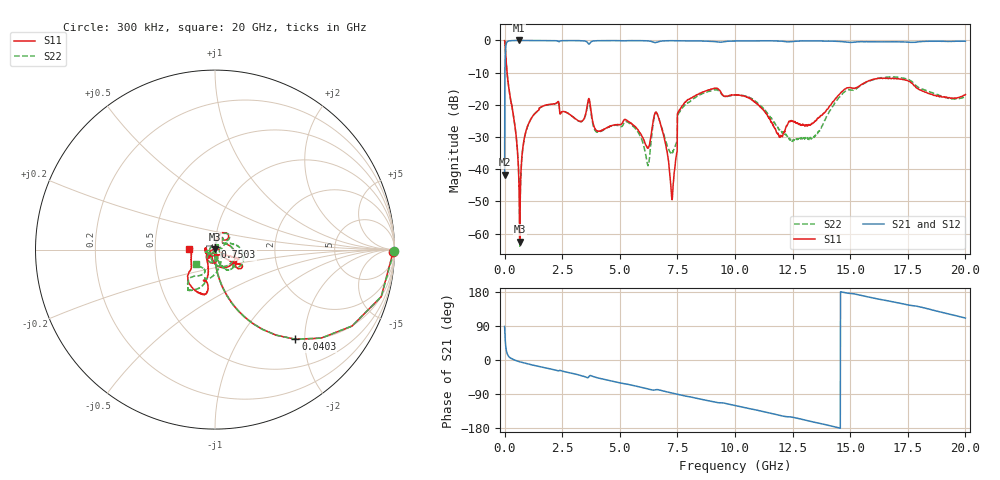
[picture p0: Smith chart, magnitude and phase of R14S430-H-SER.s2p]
!{R14S430}
!Johanson Technology Inc.
!www.johansontechnology.com
!Test Board Conditions:
!Substrate Type  RO4350B
!Substrate Thickness  20 mil
!Substrate Dk  3.66
!TL Type: GCPW
!TL Trace Width  36 mil
!TL Gap  12 mil
!Electrode orientation  Horizontal
!DUT TOPOLOGY	SERIES
!Mounting Pad LxW  26x36 mil
! Created Wed Nov 25 17:33:21 2020
! 2 Port Network Data from SP1.SP block
! freq  magS11  angS11  magS21  angS21  magS12  angS12  magS22  angS22
# khz S ma R 50
! decimated to every 10th point (10 MHz spacing) of the original 1 MHz Johanson file; values unchanged
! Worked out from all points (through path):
!   2001 points, 300 kHz to 20 GHz, reference 50 ohm
!   highest |S21| = 0.00 dB at 610.3 MHz (marker M1); lowest = -41.7 dB at 300 kHz (marker M2)
!   group delay of S21, straight-line fit = 34.7 ps
!   lowest |S11| = -62.5 dB at 660.3 MHz (marker M3), VSWR 1.00, Z = 50 + j0.0729 ohm
!   |S11| at or under -10 dB: 107.3 MHz to end of sweep
!   |S22| runs from -63.9 to 0.0 dB; largest |S21 - S12| = 0.015
!   S11 on the Smith chart (normalised r, x): 300 kHz: open; 40.3 MHz: 0.99, -1.80; 750.3 MHz: 1.00, +0.03; 20 GHz: 0.75, +0.00
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300  0.9927 -0.7  0.008187 88.5  0.008142 89.9  0.9967 -0.6
40300  0.671 -48.1  0.7387 42.0  0.74 41.9  0.6725 -48.0
130300  0.2617 -75.7  0.964 14.2  0.9643 14.2  0.2627 -75.7
610300  0.008377 -93.8  0.9998 -3.9  0.9989 -3.9  0.00871 -90.0
660300  0.0007508 76.1  0.9986 -4.8  1 -4.8  0.0006357 61.4
750300  0.01573 84.6  0.9993 -6.4  0.9987 -6.4  0.01501 81.6
970300  0.04386 80.2  0.9975 -9.8  0.9985 -9.8  0.04334 79.2
1600300  0.09312 73.1  0.9946 -18.5  0.9947 -18.5  0.09274 69.6
3340300  0.05536 41.6  0.9914 -41.3  0.9914 -41.2  0.05504 44.7
3650300  0.1246 -30.7  0.8797 -44.9  0.8807 -44.9  0.1167 -29.9
4040300  0.03921 -117.0  0.9914 -47.2  0.9915 -47.2  0.03769 -143.2
5380300  0.05506 -135.1  0.9916 -64.6  0.9919 -64.6  0.05267 -166.1
6210300  0.0212 -106.0  0.9841 -76.1  0.9847 -76.1  0.01148 -127.4
6670300  0.06587 -131.8  0.9577 -78.4  0.9575 -78.4  0.06527 -131.4
7260300  0.003492 117.5  0.9924 -87.1  0.9918 -87.1  0.01784 -89.5
7650300  0.08951 -38.4  0.9872 -92.5  0.9876 -92.4  0.08344 25.2
1.00003e7  0.1428 -19.8  0.9794 -120.1  0.9796 -120.1  0.1411 -45.9
1.19603e7  0.03241 -74.0  0.9766 -146.4  0.9792 -146.2  0.04031 -81.3
1.33403e7  0.05162 -156.5  0.9826 -162.7  0.9849 -162.7  0.03019 9.6
1.47603e7  0.1752 -106.2  0.9508 177.6  0.9509 177.4  0.1588 -99.2
1.66703e7  0.2548 -108.1  0.9528 155.8  0.9468 155.6  0.271 -122.5
2e7  0.1441 179.2  0.9722 110.6  0.971 110.7  0.1347 -142.2
